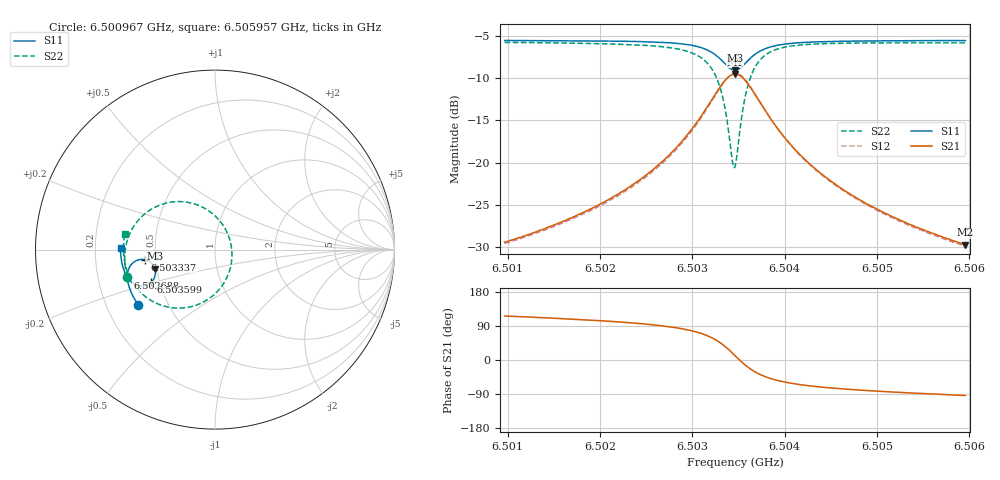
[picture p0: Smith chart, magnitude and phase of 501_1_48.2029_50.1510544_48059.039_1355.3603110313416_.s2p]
#  HZ  S  RI  R  50.00
! Rohde & Schwarz Vector Network Analyzer
! Rohde-Schwarz,ZNB20-2Port,1311601062101988,3.16
! Created: UTC 3/20/2024, 11:58:34 AM
! freq[Hz]  re:S11  im:S11  re:S21  im:S21  re:S12  im:S12  re:S22  im:S22
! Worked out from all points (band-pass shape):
!   401 points, 6.500967 GHz to 6.505957 GHz, reference 50 ohm
!   highest |S21| = -9.53 dB at 6.503462 GHz (marker M1); lowest = -29.7 dB at 6.505957 GHz (marker M2)
!   |S21| within 3 dB of the highest: 6.503213 GHz to 6.503712 GHz (499.7 kHz wide, 0.00768 % of centre)
!   lowest |S11| = -9.1 dB at 6.503462 GHz (marker M3), VSWR 2.08, Z = 24.4 - j5.91 ohm
!   |S11| at or under -10 dB: nowhere
!   |S22| runs from -20.6 to -5.8 dB; largest |S21 - S12| = 0.011
!   S11 on the Smith chart (normalised r, x): 6.500967 GHz: 0.34, -0.29; 6.502688 GHz: 0.33, -0.14; 6.503337 GHz: 0.44, -0.06; 6.503599 GHz: 0.45, -0.19; 6.505957 GHz: 0.31, +0.01
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6.5009667e9  -0.4267 -0.3094  -0.0149 0.0304  -0.0133 0.0305  -0.4899 -0.1539
6.5018026e9  -0.4628 -0.2476  -0.0142 0.0482  -0.0119 0.0478  -0.5028 -0.0648
6.5022767e9  -0.4793 -0.2053  -0.0111 0.0685  -0.00815 0.0674  -0.4995 0.00306
6.5026385e9  -0.4878 -0.165  -0.00206 0.0975  0.00133 0.0951  -0.4801 0.0764
6.5026884e9  -0.4882 -0.1583  0.00041 0.103  0.0038 0.1005  -0.4746 0.0891
6.5029504e9  -0.484 -0.117  0.0266 0.1444  0.03 0.14  -0.42 0.1719
6.5031375e9  -0.4624 -0.0787  0.0814 0.1867  0.0834 0.1809  -0.3155 0.2448
6.5032498e9  -0.4294 -0.0579  0.1512 0.2045  0.1516 0.1989  -0.1899 0.2673
6.5033371e9  -0.3884 -0.0562  0.2315 0.1882  0.2316 0.1839  -0.0511 0.2265
6.5034369e9  -0.3415 -0.0912  0.3166 0.1  0.3195 0.096  0.0827 0.0543
6.5034619e9  -0.3351 -0.106  0.3269 0.0673  0.3306 0.0624  0.0939 -0.00677
6.5034868e9  -0.3319 -0.1219  0.3308 0.0332  0.3346 0.027  0.0919 -0.0692
6.5035243e9  -0.3339 -0.1456  0.3237 -0.0164  0.3274 -0.0246  0.0658 -0.1568
6.5035617e9  -0.3426 -0.1665  0.3047 -0.0593  0.307 -0.0691  0.0177 -0.2284
6.5035991e9  -0.3557 -0.1823  0.2782 -0.0923  0.2785 -0.103  -0.0418 -0.2789
6.5037114e9  -0.4007 -0.2023  0.1926 -0.1376  0.1878 -0.1469  -0.2151 -0.3258
6.5038736e9  -0.4475 -0.1928  0.1098 -0.1341  0.1031 -0.1392  -0.3646 -0.2785
6.5040482e9  -0.4753 -0.1715  0.0646 -0.1135  0.0586 -0.1159  -0.4376 -0.2129
6.5042978e9  -0.4962 -0.1415  0.0342 -0.0889  0.0297 -0.0895  -0.4815 -0.1398
6.5046596e9  -0.5116 -0.1035  0.0153 -0.0658  0.0122 -0.0657  -0.5037 -0.067
6.5051336e9  -0.5214 -0.0594  0.00527 -0.0486  0.00284 -0.0479  -0.5102 0.000931
6.505957e9  -0.5264 0.0105  -0.00217 -0.0327  -0.00325 -0.0319  -0.5026 0.0886
